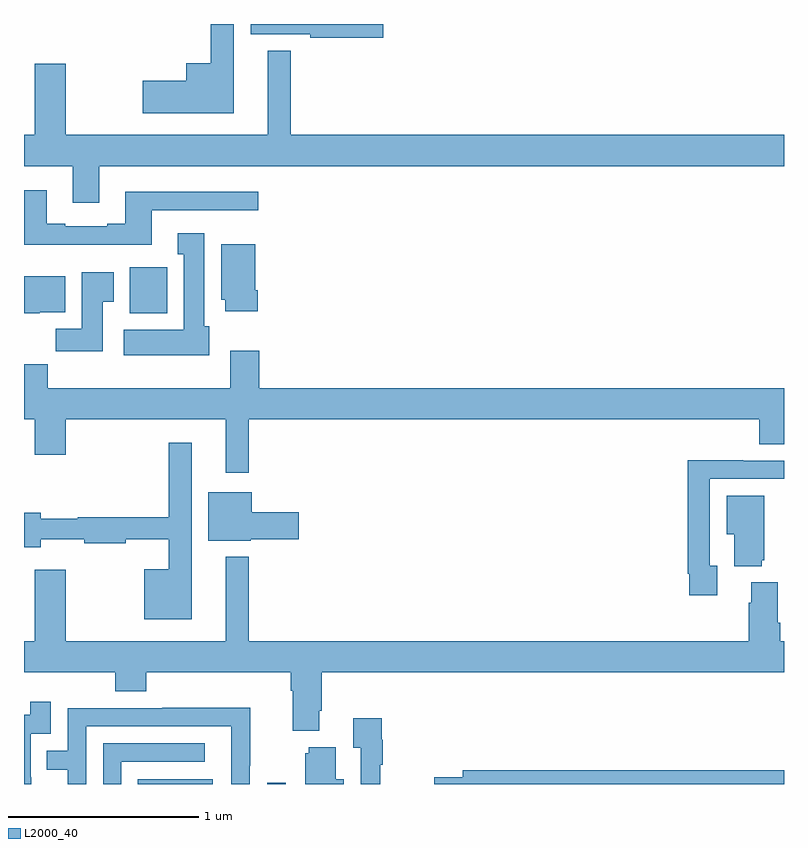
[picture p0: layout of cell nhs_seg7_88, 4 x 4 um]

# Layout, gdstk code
import gdstk
lib = gdstk.Library(unit=1e-6, precision=1e-09)
def R(c, l, rs):  # rectangles x0, y0, x1, y1
    for r in rs: c.add(gdstk.rectangle(r[:2], r[2:], *l))
def P(c, l, *ps):  # polygons
    for p in ps: c.add(gdstk.Polygon(p, *l))
L2000_40 = (2000, 40)

nhs_seg7_88 = lib.new_cell('nhs_seg7_88')
R(nhs_seg7_88, L2000_40, [(117.598,1028,117.994,1028.026), (118.281,1028,118.377,1028.007), (117.557,1030.478,117.754,1030.72)])
P(nhs_seg7_88, L2000_40, [(118.891,1032),(118.193,1032),(118.193,1031.945),(118.506,1031.945),(118.506,1031.927),(118.891,1031.927)],
  [(118.105,1032),(117.984,1032),(117.984,1031.794),(117.854,1031.794),(117.854,1031.702),(117.624,1031.702),(117.624,1031.531),(118.105,1031.531)],
  [(117.397,1031.252),(121,1031.252),(121,1031.416),(118.405,1031.416),(118.405,1031.86),(118.283,1031.86),(118.283,1031.416),(117.22,1031.416),(117.22,1031.791),(117.056,1031.791),(117.056,1031.416),(117,1031.416),(117,1031.252),(117.257,1031.252),(117.257,1031.058),(117.397,1031.058)],
  [(117.673,1031.019),(118.234,1031.019),(118.234,1031.116),(117.533,1031.116),(117.533,1030.948),(117.437,1030.948),(117.437,1030.935),(117.217,1030.935),(117.217,1030.948),(117.121,1030.948),(117.121,1031.125),(117,1031.125),(117,1030.838),(117.673,1030.838)],
  [(117.976,1030.41),(117.949,1030.41),(117.949,1030.9),(117.809,1030.9),(117.809,1030.787),(117.842,1030.787),(117.842,1030.39),(117.525,1030.39),(117.525,1030.256),(117.976,1030.256)],
  [(118.229,1030.6),(118.216,1030.6),(118.216,1030.84),(118.037,1030.84),(118.037,1030.548),(118.058,1030.548),(118.058,1030.488),(118.229,1030.488)],
  [(117.415,1030.537),(117.472,1030.537),(117.472,1030.693),(117.305,1030.693),(117.305,1030.396),(117.166,1030.396),(117.166,1030.278),(117.415,1030.278)],
  [(117.084,1030.484),(117.217,1030.484),(117.217,1030.672),(117,1030.672),(117,1030.478),(117.084,1030.478)],
  [(118.183,1029.92),(120.869,1029.92),(120.869,1029.787),(121,1029.787),(121,1030.084),(118.238,1030.084),(118.238,1030.279),(118.085,1030.279),(118.085,1030.084),(117.125,1030.084),(117.125,1030.208),(117,1030.208),(117,1029.92),(117.056,1029.92),(117.056,1029.732),(117.22,1029.732),(117.22,1029.92),(118.061,1029.92),(118.061,1029.639),(118.183,1029.639)],
  [(117.883,1029.796),(117.762,1029.796),(117.762,1029.404),(117.284,1029.404),(117.284,1029.397),(117.088,1029.397),(117.088,1029.428),(117,1029.428),(117,1029.245),(117.088,1029.245),(117.088,1029.287),(117.316,1029.287),(117.316,1029.268),(117.536,1029.268),(117.536,1029.287),(117.762,1029.287),(117.762,1029.13),(117.632,1029.13),(117.632,1028.867),(117.883,1028.867)],
  [(120.649,1029.15),(120.609,1029.15),(120.609,1029.606),(121,1029.606),(121,1029.702),(120.785,1029.702),(120.785,1029.704),(120.493,1029.704),(120.493,1029.106),(120.501,1029.106),(120.501,1028.994),(120.649,1028.994)],
  [(118.194,1029.287),(118.447,1029.287),(118.447,1029.429),(118.198,1029.429),(118.198,1029.535),(117.971,1029.535),(117.971,1029.281),(118.194,1029.281)],
  [(120.884,1029.177),(120.895,1029.177),(120.895,1029.517),(120.698,1029.517),(120.698,1029.314),(120.737,1029.314),(120.737,1029.146),(120.884,1029.146)],
  [(118.555,1028.386),(118.568,1028.386),(118.568,1028.588),(121,1028.588),(121,1028.752),(120.98,1028.752),(120.98,1028.848),(120.967,1028.848),(120.967,1029.061),(120.827,1029.061),(120.827,1028.954),(120.815,1028.954),(120.815,1028.752),(118.183,1028.752),(118.183,1029.196),(118.061,1029.196),(118.061,1028.752),(117.22,1028.752),(117.22,1029.127),(117.056,1029.127),(117.056,1028.752),(117,1028.752),(117,1028.588),(117.479,1028.588),(117.479,1028.489),(117.644,1028.489),(117.644,1028.588),(118.403,1028.588),(118.403,1028.492),(118.415,1028.492),(118.415,1028.279),(118.555,1028.279)],
  [(117.038,1028.036),(117.036,1028.036),(117.036,1028.265),(117.141,1028.265),(117.141,1028.434),(117.033,1028.434),(117.033,1028.364),(117,1028.364),(117,1028),(117.038,1028)],
  [(117.327,1028.304),(118.091,1028.304),(118.091,1028.05),(118.092,1028.05),(118.092,1028),(118.188,1028),(118.188,1028.095),(118.191,1028.095),(118.191,1028.402),(117.727,1028.402),(117.727,1028.4),(117.231,1028.4),(117.231,1028.175),(117.121,1028.175),(117.121,1028.074),(117.231,1028.074),(117.231,1028),(117.327,1028)],
  [(118.874,1028.102),(118.889,1028.102),(118.889,1028.234),(118.882,1028.234),(118.882,1028.347),(118.733,1028.347),(118.733,1028.191),(118.773,1028.191),(118.773,1028),(118.874,1028)],
  [(117.513,1028.118),(117.952,1028.118),(117.952,1028.214),(117.417,1028.214),(117.417,1028),(117.513,1028)],
  [(118.684,1028.026),(118.642,1028.026),(118.642,1028.194),(118.499,1028.194),(118.499,1028.163),(118.481,1028.163),(118.481,1028),(118.684,1028)],
  [(121,1028.072),(119.309,1028.072),(119.309,1028.036),(119.16,1028.036),(119.16,1028),(121,1028)])

lib.write_gds('nhs_seg7_88.gds')
